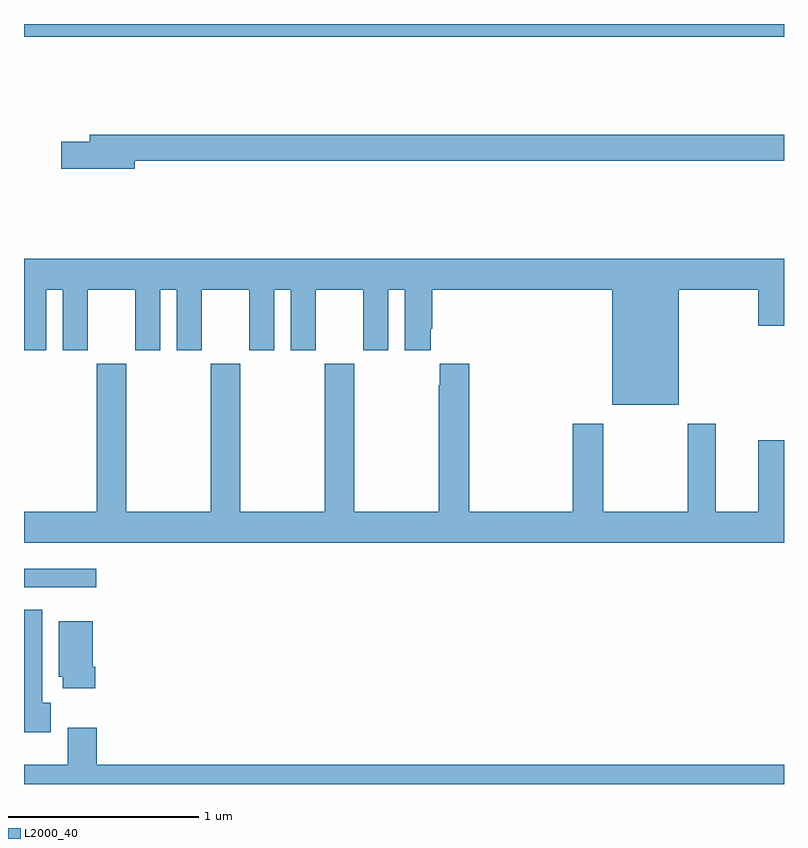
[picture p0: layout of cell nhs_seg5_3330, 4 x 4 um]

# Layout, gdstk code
import gdstk
lib = gdstk.Library(unit=1e-6, precision=1e-09)
def R(c, l, rs):  # rectangles x0, y0, x1, y1
    for r in rs: c.add(gdstk.rectangle(r[:2], r[2:], *l))
def P(c, l, *ps):  # polygons
    for p in ps: c.add(gdstk.Polygon(p, *l))
L2000_40 = (2000, 40)

nhs_seg5_3330 = lib.new_cell('nhs_seg5_3330')
R(nhs_seg5_3330, L2000_40, [(305,881.835,305.38,881.932), (305,884.732,309,884.799)])
P(nhs_seg5_3330, L2000_40, [(305.584,884.08),(309,884.08),(309,884.216),(305.345,884.216),(305.345,884.18),(305.196,884.18),(305.196,884.038),(305.584,884.038)],
  [(308.446,883.4),(308.864,883.4),(308.864,883.212),(309,883.212),(309,883.564),(305,883.564),(305,883.083),(305.116,883.083),(305.116,883.4),(305.204,883.4),(305.204,883.083),(305.335,883.083),(305.335,883.4),(305.585,883.4),(305.585,883.083),(305.716,883.083),(305.716,883.4),(305.804,883.4),(305.804,883.083),(305.935,883.083),(305.935,883.4),(306.185,883.4),(306.185,883.083),(306.316,883.083),(306.316,883.4),(306.404,883.4),(306.404,883.083),(306.535,883.083),(306.535,883.4),(306.785,883.4),(306.785,883.083),(306.916,883.083),(306.916,883.4),(307.004,883.4),(307.004,883.083),(307.141,883.083),(307.141,883.195),(307.148,883.195),(307.148,883.4),(308.096,883.4),(308.096,882.794),(308.446,882.794)],
  [(309,882.607),(308.864,882.607),(308.864,882.232),(308.641,882.232),(308.641,882.694),(308.494,882.694),(308.494,882.232),(308.049,882.232),(308.049,882.694),(307.889,882.694),(307.889,882.232),(307.343,882.232),(307.343,883.012),(307.187,883.012),(307.187,882.899),(307.183,882.899),(307.183,882.232),(306.738,882.232),(306.738,883.012),(306.583,883.012),(306.583,882.232),(306.138,882.232),(306.138,883.012),(305.983,883.012),(305.983,882.232),(305.538,882.232),(305.538,883.012),(305.383,883.012),(305.383,882.232),(305,882.232),(305,882.068),(309,882.068)],
  [(305.14,881.226),(305.095,881.226),(305.095,881.716),(305,881.716),(305,881.072),(305.14,881.072)],
  [(305.375,881.416),(305.362,881.416),(305.362,881.656),(305.183,881.656),(305.183,881.364),(305.204,881.364),(305.204,881.304),(305.375,881.304)],
  [(309,880.9),(305.384,880.9),(305.384,881.095),(305.231,881.095),(305.231,880.9),(305,880.9),(305,880.799),(309,880.799)])

lib.write_gds('nhs_seg5_3330.gds')
